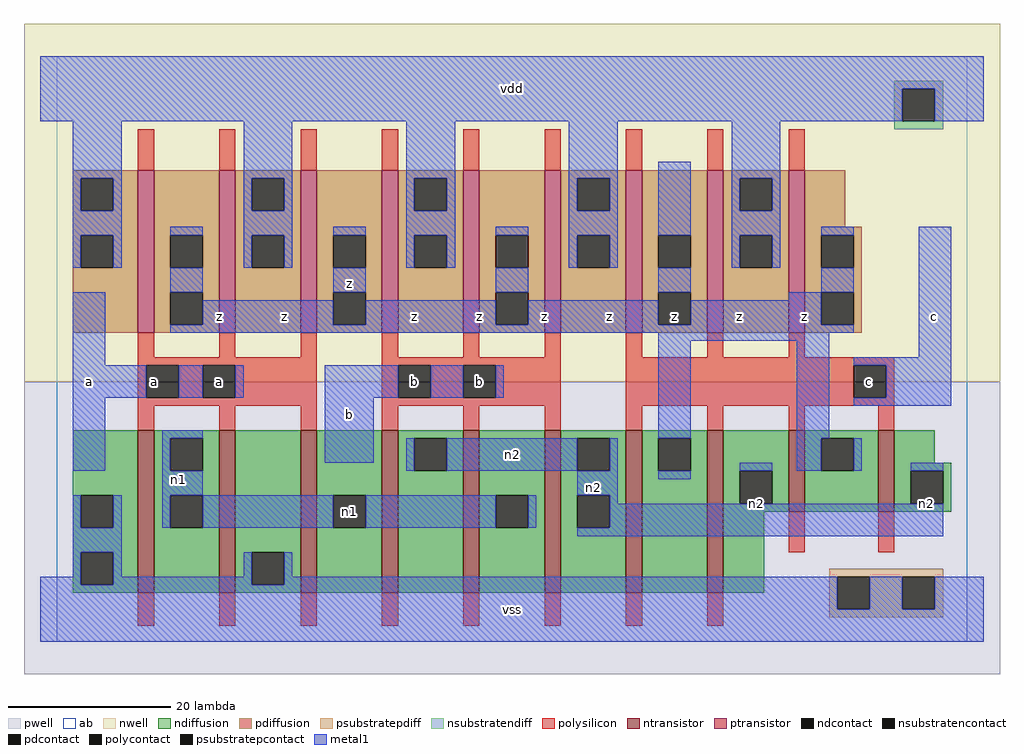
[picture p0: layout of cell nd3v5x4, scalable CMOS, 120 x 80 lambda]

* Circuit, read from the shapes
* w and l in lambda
.subckt nd3v5x4 a b c n1 n2 vdd vss z
M1 n1 a vss vss nfet w=20 l=2 m=3
M2 n2 b n1 vss nfet w=20 l=2 m=3
M3 z c n2 vss nfet w=20 l=2 m=2
M4 z c n2 vss nfet w=10 l=2 m=2
M5 z a vdd vdd pfet w=20 l=2 m=3
M6 vdd b z vdd pfet w=20 l=2 m=3
M7 z c vdd vdd pfet w=20 l=2 m=3
.ends

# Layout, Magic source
magic
tech scmos
<< ab >>
rect 0 0 112 72
<< pwell >>
rect -4 -4 116 32
<< nwell >>
rect -4 32 116 76
<< polysilicon >>
rect 10 58 12 63
rect 20 58 22 63
rect 30 58 32 63
rect 40 58 42 63
rect 50 58 52 63
rect 60 58 62 63
rect 70 58 72 63
rect 80 58 82 63
rect 90 58 92 63
rect 10 35 12 38
rect 20 35 22 38
rect 30 35 32 38
rect 10 34 32 35
rect 10 30 11 34
rect 15 30 18 34
rect 22 30 32 34
rect 10 29 32 30
rect 10 26 12 29
rect 20 26 22 29
rect 30 26 32 29
rect 40 35 42 38
rect 50 35 52 38
rect 60 35 62 38
rect 40 34 62 35
rect 40 30 42 34
rect 46 30 50 34
rect 54 30 62 34
rect 40 29 62 30
rect 40 26 42 29
rect 50 26 52 29
rect 60 26 62 29
rect 70 35 72 38
rect 80 35 82 38
rect 90 35 92 38
rect 70 34 103 35
rect 70 30 98 34
rect 102 30 103 34
rect 70 29 103 30
rect 70 26 72 29
rect 80 26 82 29
rect 90 26 92 29
rect 101 26 103 29
rect 90 11 92 16
rect 101 11 103 16
rect 10 2 12 6
rect 20 2 22 6
rect 30 2 32 6
rect 40 2 42 6
rect 50 2 52 6
rect 60 2 62 6
rect 70 2 72 6
rect 80 2 82 6
<< ndiffusion >>
rect 2 18 10 26
rect 2 14 3 18
rect 7 14 10 18
rect 2 11 10 14
rect 2 7 3 11
rect 7 7 10 11
rect 2 6 10 7
rect 12 25 20 26
rect 12 21 14 25
rect 18 21 20 25
rect 12 18 20 21
rect 12 14 14 18
rect 18 14 20 18
rect 12 6 20 14
rect 22 11 30 26
rect 22 7 24 11
rect 28 7 30 11
rect 22 6 30 7
rect 32 18 40 26
rect 32 14 34 18
rect 38 14 40 18
rect 32 6 40 14
rect 42 25 50 26
rect 42 21 44 25
rect 48 21 50 25
rect 42 6 50 21
rect 52 18 60 26
rect 52 14 54 18
rect 58 14 60 18
rect 52 6 60 14
rect 62 25 70 26
rect 62 21 64 25
rect 68 21 70 25
rect 62 18 70 21
rect 62 14 64 18
rect 68 14 70 18
rect 62 6 70 14
rect 72 25 80 26
rect 72 21 74 25
rect 78 21 80 25
rect 72 6 80 21
rect 82 21 90 26
rect 82 17 84 21
rect 88 17 90 21
rect 82 16 90 17
rect 92 25 101 26
rect 92 21 94 25
rect 98 21 101 25
rect 92 16 101 21
rect 103 22 108 26
rect 103 21 110 22
rect 103 17 105 21
rect 109 17 110 21
rect 103 16 110 17
rect 82 6 87 16
<< pdiffusion >>
rect 2 57 10 58
rect 2 53 3 57
rect 7 53 10 57
rect 2 50 10 53
rect 2 46 3 50
rect 7 46 10 50
rect 2 38 10 46
rect 12 50 20 58
rect 12 46 14 50
rect 18 46 20 50
rect 12 43 20 46
rect 12 39 14 43
rect 18 39 20 43
rect 12 38 20 39
rect 22 57 30 58
rect 22 53 24 57
rect 28 53 30 57
rect 22 50 30 53
rect 22 46 24 50
rect 28 46 30 50
rect 22 38 30 46
rect 32 50 40 58
rect 32 46 34 50
rect 38 46 40 50
rect 32 43 40 46
rect 32 39 34 43
rect 38 39 40 43
rect 32 38 40 39
rect 42 57 50 58
rect 42 53 44 57
rect 48 53 50 57
rect 42 50 50 53
rect 42 46 44 50
rect 48 46 50 50
rect 42 38 50 46
rect 52 50 60 58
rect 52 46 54 50
rect 58 46 60 50
rect 52 43 60 46
rect 52 39 54 43
rect 58 39 60 43
rect 52 38 60 39
rect 62 57 70 58
rect 62 53 64 57
rect 68 53 70 57
rect 62 50 70 53
rect 62 46 64 50
rect 68 46 70 50
rect 62 38 70 46
rect 72 50 80 58
rect 72 46 74 50
rect 78 46 80 50
rect 72 43 80 46
rect 72 39 74 43
rect 78 39 80 43
rect 72 38 80 39
rect 82 57 90 58
rect 82 53 84 57
rect 88 53 90 57
rect 82 50 90 53
rect 82 46 84 50
rect 88 46 90 50
rect 82 38 90 46
rect 92 51 97 58
rect 92 50 99 51
rect 92 46 94 50
rect 98 46 99 50
rect 92 43 99 46
rect 92 39 94 43
rect 98 39 99 43
rect 92 38 99 39
<< metal1 >>
rect -2 68 114 72
rect -2 64 104 68
rect 108 64 114 68
rect 2 57 8 64
rect 2 53 3 57
rect 7 53 8 57
rect 2 50 8 53
rect 23 57 29 64
rect 23 53 24 57
rect 28 53 29 57
rect 2 46 3 50
rect 7 46 8 50
rect 14 50 18 51
rect 23 50 29 53
rect 43 57 49 64
rect 43 53 44 57
rect 48 53 49 57
rect 23 46 24 50
rect 28 46 29 50
rect 34 50 38 51
rect 43 50 49 53
rect 63 57 69 64
rect 63 53 64 57
rect 68 53 69 57
rect 43 46 44 50
rect 48 46 49 50
rect 54 50 58 51
rect 63 50 69 53
rect 63 46 64 50
rect 68 46 69 50
rect 74 50 78 59
rect 83 57 89 64
rect 83 53 84 57
rect 88 53 89 57
rect 83 50 89 53
rect 83 46 84 50
rect 88 46 89 50
rect 94 50 98 51
rect 14 43 18 46
rect 2 34 6 43
rect 34 43 38 46
rect 18 39 34 42
rect 54 43 58 46
rect 38 39 54 42
rect 74 43 78 46
rect 94 43 98 46
rect 58 39 74 42
rect 90 42 94 43
rect 78 39 94 42
rect 14 38 98 39
rect 74 37 95 38
rect 2 30 11 34
rect 15 30 18 34
rect 22 30 23 34
rect 33 30 42 34
rect 46 30 50 34
rect 54 30 55 34
rect 2 21 6 30
rect 13 25 18 26
rect 13 21 14 25
rect 33 22 39 30
rect 74 25 78 37
rect 43 21 44 25
rect 48 21 64 25
rect 68 21 69 25
rect 13 18 18 21
rect 64 18 69 21
rect 91 25 95 37
rect 106 35 110 51
rect 98 34 110 35
rect 102 30 110 34
rect 98 29 110 30
rect 74 20 78 21
rect 84 21 88 22
rect 91 21 94 25
rect 98 21 99 25
rect 105 21 109 22
rect 2 14 3 18
rect 7 14 8 18
rect 13 14 14 18
rect 18 14 34 18
rect 38 14 54 18
rect 58 14 59 18
rect 68 17 69 18
rect 68 14 109 17
rect 2 11 8 14
rect 64 13 109 14
rect 2 8 3 11
rect -2 7 3 8
rect 7 8 8 11
rect 23 8 24 11
rect 7 7 24 8
rect 28 8 29 11
rect 28 7 96 8
rect -2 4 96 7
rect 100 4 104 8
rect 108 4 114 8
rect -2 0 114 4
<< ntransistor >>
rect 10 6 12 26
rect 20 6 22 26
rect 30 6 32 26
rect 40 6 42 26
rect 50 6 52 26
rect 60 6 62 26
rect 70 6 72 26
rect 80 6 82 26
rect 90 16 92 26
rect 101 16 103 26
<< ptransistor >>
rect 10 38 12 58
rect 20 38 22 58
rect 30 38 32 58
rect 40 38 42 58
rect 50 38 52 58
rect 60 38 62 58
rect 70 38 72 58
rect 80 38 82 58
rect 90 38 92 58
<< polycontact >>
rect 11 30 15 34
rect 18 30 22 34
rect 42 30 46 34
rect 50 30 54 34
rect 98 30 102 34
<< ndcontact >>
rect 3 14 7 18
rect 3 7 7 11
rect 14 21 18 25
rect 14 14 18 18
rect 24 7 28 11
rect 34 14 38 18
rect 44 21 48 25
rect 54 14 58 18
rect 64 21 68 25
rect 64 14 68 18
rect 74 21 78 25
rect 84 17 88 21
rect 94 21 98 25
rect 105 17 109 21
<< pdcontact >>
rect 3 53 7 57
rect 3 46 7 50
rect 14 46 18 50
rect 14 39 18 43
rect 24 53 28 57
rect 24 46 28 50
rect 34 46 38 50
rect 34 39 38 43
rect 44 53 48 57
rect 44 46 48 50
rect 54 46 58 50
rect 54 39 58 43
rect 64 53 68 57
rect 64 46 68 50
rect 74 46 78 50
rect 74 39 78 43
rect 84 53 88 57
rect 84 46 88 50
rect 94 46 98 50
rect 94 39 98 43
<< psubstratepcontact >>
rect 96 4 100 8
rect 104 4 108 8
<< nsubstratencontact >>
rect 104 64 108 68
<< psubstratepdiff >>
rect 95 8 109 9
rect 95 4 96 8
rect 100 4 104 8
rect 108 4 109 8
rect 95 3 109 4
<< nsubstratendiff >>
rect 103 68 109 69
rect 103 64 104 68
rect 108 64 109 68
rect 103 63 109 64
<< labels >>
rlabel metal1 15 20 15 20 6 n1
rlabel metal1 4 32 4 32 6 a
rlabel polycontact 12 32 12 32 6 a
rlabel metal1 36 28 36 28 6 b
rlabel polycontact 20 32 20 32 6 a
rlabel metal1 20 40 20 40 6 z
rlabel metal1 28 40 28 40 6 z
rlabel metal1 36 44 36 44 6 z
rlabel metal1 56 4 56 4 6 vss
rlabel ndcontact 36 16 36 16 6 n1
rlabel polycontact 52 32 52 32 6 b
rlabel polycontact 44 32 44 32 6 b
rlabel metal1 44 40 44 40 6 z
rlabel metal1 52 40 52 40 6 z
rlabel metal1 60 40 60 40 6 z
rlabel metal1 56 68 56 68 6 vdd
rlabel metal1 86 17 86 17 6 n2
rlabel metal1 66 19 66 19 6 n2
rlabel metal1 56 23 56 23 6 n2
rlabel metal1 68 40 68 40 6 z
rlabel pdcontact 76 40 76 40 6 z
rlabel metal1 84 40 84 40 6 z
rlabel metal1 107 17 107 17 6 n2
rlabel polycontact 100 32 100 32 6 c
rlabel metal1 92 40 92 40 6 z
rlabel metal1 108 40 108 40 6 c
<< end >>
